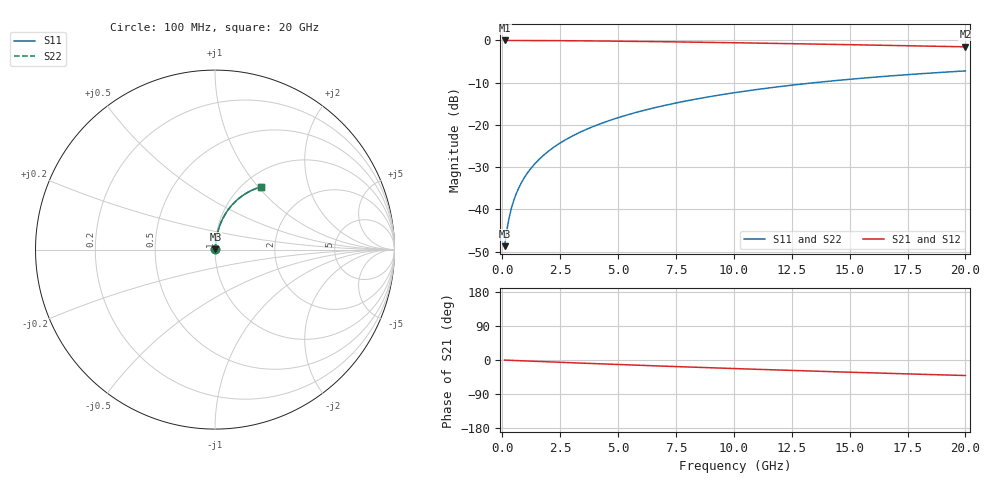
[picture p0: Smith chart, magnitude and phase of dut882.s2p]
! Touchstone file exported from HFSS 2024.1.0
!  File:  C:/UserFiles/LocalFiles/RDL_TSV_Batchsim/temp_RDL_bottom_882_1779865491.aedt
!  Generated:  03:07:44 PM May 27, 2026
!  Design:  RDL_bottom
!  Project:  temp_RDL_bottom_882_1779865491
!  Setup:  Setup1
!  Solution:  Sweep
! Variables:
!  dtsv = 10.80580581um
!  hbump = 3um
!  htsv = 99.55um
!  ldown = 528.63um
!  lrdl = 100um
!  p = 40
!  p1 = 55.67um
!  rhole = 1um
!  t = 450um
!  tdown = 4.61um
!  trdl = 3.915915916um
!  wdown = 15.96um
!  wrdl = 20um
# GHz S MA R 50.000000
! Terminal data exported
! Port[1] = RDL1_T1
! Port[2] = RDL1_T2
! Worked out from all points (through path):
!   200 points, 100 MHz to 20 GHz, reference 50 ohm
!   highest |S21| = -0.02 dB at 100 MHz (marker M1); lowest = -1.5 dB at 20 GHz (marker M2)
!   group delay of S21, straight-line fit = 5.67 ps
!   lowest |S11| = -48.7 dB at 100 MHz (marker M3), VSWR 1.01, Z = 50.3 + j0.257 ohm
!   |S11| at or under -10 dB: start of sweep to 13.5 GHz
!   |S22| runs from -48.7 to -7.2 dB; largest |S21 - S12| = 4.2e-15
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0.1  0.003684 43.9  0.9973 -0.3  0.9973 -0.3  0.003684 43.9
! Gamma 0 0 0 0
! Port Impedance 50 0 50 0
0.2  0.005779 61.8  0.9972 -0.5  0.9972 -0.5  0.005779 61.8
0.3  0.00812 69.5  0.9971 -0.7  0.9971 -0.7  0.00812 69.5
0.4  0.01052 73.6  0.997 -1.0  0.997 -1.0  0.01052 73.6
0.5  0.01293 76.0  0.9968 -1.2  0.9968 -1.2  0.01293 76.0
0.7  0.01775 78.8  0.9966 -1.7  0.9966 -1.7  0.01775 78.8
0.8  0.02016 79.7  0.9964 -2.0  0.9964 -2.0  0.02016 79.7
1  0.02496 80.9  0.9961 -2.4  0.9961 -2.4  0.02496 80.9
1.2  0.02977 81.6  0.9957 -2.9  0.9957 -2.9  0.02977 81.6
1.4  0.03459 82.1  0.9952 -3.4  0.9952 -3.4  0.03459 82.1
1.7  0.04182 82.5  0.9944 -4.1  0.9944 -4.1  0.04182 82.5
2  0.04907 82.6  0.9935 -4.9  0.9935 -4.9  0.04907 82.6
2.7  0.06602 82.4  0.9909 -6.5  0.9909 -6.5  0.06602 82.4
3.5  0.08542 81.7  0.9871 -8.4  0.9871 -8.4  0.08542 81.7
4.2  0.1024 80.8  0.9832 -10.0  0.9832 -10.0  0.1024 80.8
5  0.1218 79.7  0.9781 -11.9  0.9781 -11.9  0.1218 79.7
6.8  0.1651 76.9  0.965 -15.9  0.965 -15.9  0.1651 76.9
8.4  0.203 74.1  0.9517 -19.3  0.9517 -19.3  0.2029 74.1
10.1  0.2422 71.1  0.9366 -22.8  0.9366 -22.8  0.2422 71.1
13.4  0.3141 65.0  0.9051 -29.3  0.9051 -29.3  0.314 65.0
16.7  0.3787 59.2  0.872 -35.3  0.872 -35.3  0.3787 59.2
20  0.4352 53.6  0.8387 -40.9  0.8387 -40.9  0.4352 53.6
